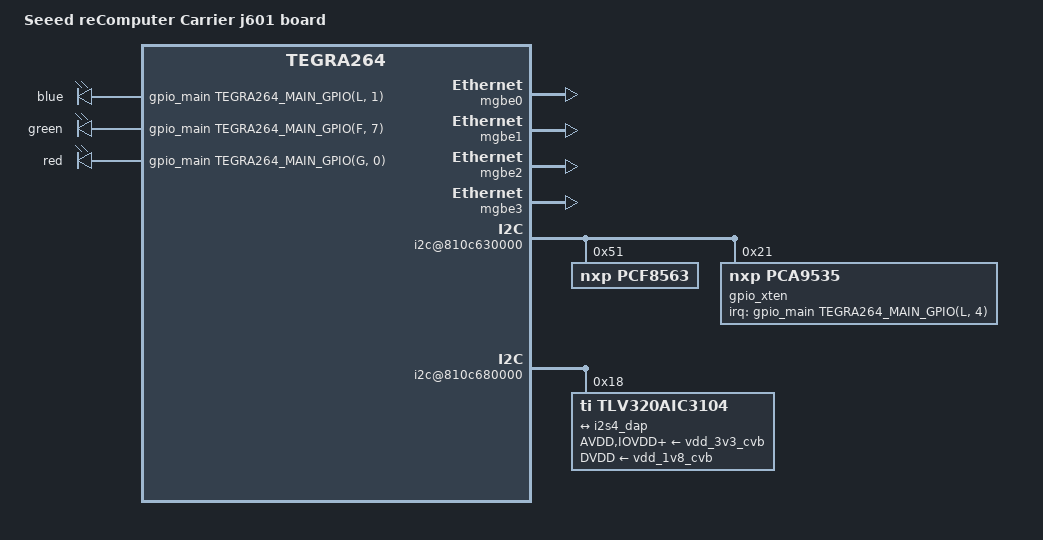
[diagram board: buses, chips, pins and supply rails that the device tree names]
// SPDX-License-Identifier: GPL-2.0-only
// SPDX-FileCopyrightText: Copyright (c) 2024-2025, NVIDIA CORPORATION & AFFILIATES.  All rights reserved.
/dts-v1/;

#include "tegra264-p3834-0008.dtsi"
#include "tegra264-p4071-0000.dtsi"

/ {
	model = "Seeed reComputer Carrier j601 board";
	compatible = "nvidia,p4071-0000+p3834-0008", "nvidia,p3834-0008", "nvidia,tegra264";
	
	bus@0 {
		mttcan@81102f0000 {
			status = "okay";
		};
		
		mttcan@8110300000 {
			status = "okay";
		};
		
		mttcan@8110330000 {
			status = "okay";
		};
		
		mttcan@8110340000 {
			status = "okay";
		};
		
		mgbe0: ethernet@a808a10000 {
			status = "okay";
		};
		
		mgbe1: ethernet@a808b10000 {
			status = "okay";
		};
		
		mgbe2: ethernet@a808d10000 {
			status = "okay";
		};
		
		mgbe3: ethernet@a808e10000 {
			status = "okay";
		};
		
		serial@810c530000 {
			linux,rs485-enabled-at-boot-time;
			rs485-rts-active-low;
			rs485-rts-delay = <0 0>;
		};
		
		serial@810c540000 {
			rs485-rts-active-low;
			rs485-rts-delay = <0 0>;
		};
		
		i2c@810c630000 {
			status = "okay";
			
			pcf8563@51 {
				compatible = "nxp,pcf8563";
				reg = <0x51>;
			};
			
			gpio_xten: gpio_xten@21 {
				compatible = "nxp,pca9535";
				reg = <0x21>;
				gpio-controller;
				#gpio-cells = <2>;
				ngpios = <16>;
				interrupt-parent = <&gpio_main>;
				interrupts = <TEGRA264_MAIN_GPIO(L, 4) IRQ_TYPE_EDGE_FALLING>;
				
				line-names =
				"CAN0_120R", "CAN1_120R",
				"CAN2_120R_EN", "CAN3_120R_EN",
				"RS485_120R_EN", "UART2_EN",
				"UART1_EN", "",
				"", "",
				"USB_HUB_RSTn", "AUDIO_RSTn",
				"M2B_RSTn", "",
				"", "";
				
				can0_120r {
					gpios = <0 GPIO_ACTIVE_HIGH>;
					output-low;
					line-name = "CAN0_120R";
				};
				
				can1_120r {
					gpios = <1 GPIO_ACTIVE_HIGH>;
					output-low;
					line-name = "CAN1_120R";
				};
				
				can2_120r_en {
					gpios = <2 GPIO_ACTIVE_HIGH>;
					output-low;
					line-name = "CAN2_120R_EN";
				};
				
				can3_120r_en {
					gpios = <3 GPIO_ACTIVE_HIGH>;
					output-low;
					line-name = "CAN3_120R_EN";
				};
				
				rs485_120r_en {
					gpios = <4 GPIO_ACTIVE_HIGH>;
					output-high;
					line-name = "RS485_120R_EN";
				};
				
				uart2_en {
					gpios = <5 GPIO_ACTIVE_HIGH>;
					output-low;
					line-name = "UART2_EN";
				};
				
				uart1_en {
					gpios = <6 GPIO_ACTIVE_HIGH>;
					output-low;
					line-name = "UART1_EN";
				};
				
				usb_hub_rstn {
					gpios = <10 GPIO_ACTIVE_HIGH>;
					output-high;
					line-name = "USB_HUB_RSTn";
				};
				
				audio_rstn {
					gpios = <11 GPIO_ACTIVE_HIGH>;
					output-high;
					line-name = "AUDIO_RSTn";
				};
				
				m2b_rstn {
					gpios = <12 GPIO_ACTIVE_HIGH>;
					output-high;
					line-name = "M2B_RSTn";
				};
			};
		};
		
		i2c@810c680000 {
			status = "okay";
			
			rt5640: audio-codec@1c {
				status = "disabled";
			};
			
			tlv320aic3104: audio-codec@18 {
				compatible = "ti,tlv320aic3104";
				reg = <0x18>;
				AVDD-supply = <&vdd_3v3_cvb>;
				IOVDD-supply = <&vdd_3v3_cvb>;
				DRVDD-supply = <&vdd_3v3_cvb>;
				DVDD-supply = <&vdd_1v8_cvb>;
				
				clocks = <&bpmp TEGRA264_CLK_AUD_MCLK>;
				clock-names = "mclk";
				
				/* Enable MICBIAS for headset microphone */
				ai3x-micbias-vg = <3>; /* MICBIAS_AVDD = connected to AVDD (3.3V) */
				
				sound-name-prefix = "TLV320";
				#sound-dai-cells = <1>;
				status = "okay";
				
				port {
					aic3104_ep: endpoint {
						link-name = "tlv320-playback";
						remote-endpoint = <&i2s4_dap>;
						// mclk-fs = <256>;
						system-clock-frequency = <24576000>;
					};
				};
			};
		};
	};
	
	sound {
		status = "okay";
		
		dais = /* ADMAIF (FE) Ports */
		<&admaif0_port>, <&admaif1_port>, <&admaif2_port>, <&admaif3_port>,
		<&admaif4_port>, <&admaif5_port>, <&admaif6_port>, <&admaif7_port>,
		<&admaif8_port>, <&admaif9_port>, <&admaif10_port>, <&admaif11_port>,
		<&admaif12_port>, <&admaif13_port>, <&admaif14_port>, <&admaif15_port>,
		<&admaif16_port>, <&admaif17_port>, <&admaif18_port>, <&admaif19_port>,
		<&admaif20_port>, <&admaif21_port>, <&admaif22_port>, <&admaif23_port>,
		<&admaif24_port>, <&admaif25_port>, <&admaif26_port>, <&admaif27_port>,
		<&admaif28_port>, <&admaif29_port>, <&admaif30_port>, <&admaif31_port>,
		/* XBAR Ports */
		<&xbar_i2s1_port>, <&xbar_i2s4_port>,
		<&xbar_sfc1_in_port>, <&xbar_sfc2_in_port>,
		<&xbar_sfc3_in_port>, <&xbar_sfc4_in_port>,
		<&xbar_mvc1_in_port>, <&xbar_mvc2_in_port>,
		<&xbar_amx1_in1_port>, <&xbar_amx1_in2_port>,
		<&xbar_amx1_in3_port>, <&xbar_amx1_in4_port>,
		<&xbar_amx2_in1_port>, <&xbar_amx2_in2_port>,
		<&xbar_amx2_in3_port>, <&xbar_amx2_in4_port>,
		<&xbar_amx3_in1_port>, <&xbar_amx3_in2_port>,
		<&xbar_amx3_in3_port>, <&xbar_amx3_in4_port>,
		<&xbar_amx4_in1_port>, <&xbar_amx4_in2_port>,
		<&xbar_amx4_in3_port>, <&xbar_amx4_in4_port>,
		<&xbar_amx5_in1_port>, <&xbar_amx5_in2_port>,
		<&xbar_amx5_in3_port>, <&xbar_amx5_in4_port>,
		<&xbar_amx6_in1_port>, <&xbar_amx6_in2_port>,
		<&xbar_amx6_in3_port>, <&xbar_amx6_in4_port>,
		<&xbar_adx1_in_port>, <&xbar_adx2_in_port>,
		<&xbar_adx3_in_port>, <&xbar_adx4_in_port>,
		<&xbar_adx5_in_port>, <&xbar_adx6_in_port>,
		<&xbar_mix_in1_port>, <&xbar_mix_in2_port>,
		<&xbar_mix_in3_port>, <&xbar_mix_in4_port>,
		<&xbar_mix_in5_port>, <&xbar_mix_in6_port>,
		<&xbar_mix_in7_port>, <&xbar_mix_in8_port>,
		<&xbar_mix_in9_port>, <&xbar_mix_in10_port>,
		<&xbar_asrc_in1_port>, <&xbar_asrc_in2_port>,
		<&xbar_asrc_in3_port>, <&xbar_asrc_in4_port>,
		<&xbar_asrc_in5_port>, <&xbar_asrc_in6_port>,
		<&xbar_asrc_in7_port>,
		<&xbar_ope1_in_port>,
		/* HW accelerators */
		<&sfc1_out_port>, <&sfc2_out_port>,
		<&sfc3_out_port>, <&sfc4_out_port>,
		<&mvc1_out_port>, <&mvc2_out_port>,
		<&amx1_out_port>, <&amx2_out_port>,
		<&amx3_out_port>, <&amx4_out_port>,
		<&amx5_out_port>, <&amx6_out_port>,
		<&adx1_out1_port>, <&adx1_out2_port>,
		<&adx1_out3_port>, <&adx1_out4_port>,
		<&adx2_out1_port>, <&adx2_out2_port>,
		<&adx2_out3_port>, <&adx2_out4_port>,
		<&adx3_out1_port>, <&adx3_out2_port>,
		<&adx3_out3_port>, <&adx3_out4_port>,
		<&adx4_out1_port>, <&adx4_out2_port>,
		<&adx4_out3_port>, <&adx4_out4_port>,
		<&adx5_out1_port>, <&adx5_out2_port>,
		<&adx5_out3_port>, <&adx5_out4_port>,
		<&adx6_out1_port>, <&adx6_out2_port>,
		<&adx6_out3_port>, <&adx6_out4_port>,
		<&mix_out1_port>, <&mix_out2_port>, <&mix_out3_port>,
		<&mix_out4_port>, <&mix_out5_port>,
		<&asrc_out1_port>, <&asrc_out2_port>, <&asrc_out3_port>,
		<&asrc_out4_port>, <&asrc_out5_port>, <&asrc_out6_port>,
		<&ope1_out_port>,
		/* BE I/O Ports */
		<&i2s1_port>, <&i2s4_port>;
		
		label = "NVIDIA Jetson Thor AGX APE";
		
		widgets =
		"Headphone", "TLV320 Headphone Jack",
		"Line", "TLV320 Line In";

		assigned-clocks = <&bpmp TEGRA264_CLK_PLLA_OUT0>, <&bpmp TEGRA264_CLK_AUD_MCLK>;
		assigned-clock-parents = <&bpmp TEGRA264_CLK_PLLA>, <&bpmp TEGRA264_CLK_PLLA_OUT0>;
		assigned-clock-rates = <0>, <24576000>;
		routing =
		"TLV320 Playback",         "I2S4 DAP-Playback",
		"I2S4 DAP-Capture",        "TLV320 Capture",
		"TLV320 Headphone Jack",	"TLV320 HPLOUT",
		"TLV320 Headphone Jack",	"TLV320 HPROUT",
		"TLV320 LINE1L",			"TLV320 Line In",
		"TLV320 LINE1R",			"TLV320 Line In";
	};
	
	pwm@810c5e0000 {
		status = "disabled";
	};
	
	pwm@810c5f0000 {
		status = "disabled";
	};
	
	pwm@810c600000 {
		status = "disabled";
	};
	
	pwm-fan {
		cooling-levels = <77 102 140 192 255>;
	};
	
	thermal-shutdown-alert {
		status = "disabled";
	};
	
	thermal-zones {
		tj-thermal {
			trips {
				tj_trip_active0: active-0 {
					temperature = <80000>;
					hysteresis = <0>;
					type = "active";
				};
				
				tj_trip_active1: active-1 {
					temperature = <86000>;
					hysteresis = <0>;
					type = "active";
				};
				
				tj_trip_active2: active-2 {
					temperature = <91000>;
					hysteresis = <0>;
					type = "active";
				};
				
				tj_trip_active3: active-3 {
					temperature = <100000>;
					hysteresis = <0>;
					type = "active";
				};
			};
			
			cooling-maps {
				map-active-0 {
					cooling-device = <&soc_fan 0 1>;
					trip = <&tj_trip_active0>;
				};
				
				map-active-1 {
					cooling-device = <&soc_fan 1 2>;
					trip = <&tj_trip_active1>;
				};
				
				map-active-2 {
					cooling-device = <&soc_fan 2 3>;
					trip = <&tj_trip_active2>;
				};
				
				map-active-3 {
					cooling-device = <&soc_fan 3 4>;
					trip = <&tj_trip_active3>;
				};
			};
		};
	};
	
	leds {
		compatible = "gpio-leds";
		
		blue_led: blue {
			label = "blue";
			gpios = <&gpio_main TEGRA264_MAIN_GPIO(L, 1) GPIO_ACTIVE_HIGH>;
			default-state = "off";
		};
		
		green_led: green {
			label = "green";
			gpios = <&gpio_main TEGRA264_MAIN_GPIO(F, 7) GPIO_ACTIVE_HIGH>;
			default-state = "off";
		};
		
		red_led: red {
			label = "red";
			gpios = <&gpio_main TEGRA264_MAIN_GPIO(G, 0) GPIO_ACTIVE_HIGH>;
			default-state = "off";
		};
	};
};

&i2s4_dap {
	dai-format = "i2s";
	remote-endpoint = <&aic3104_ep>;
};
